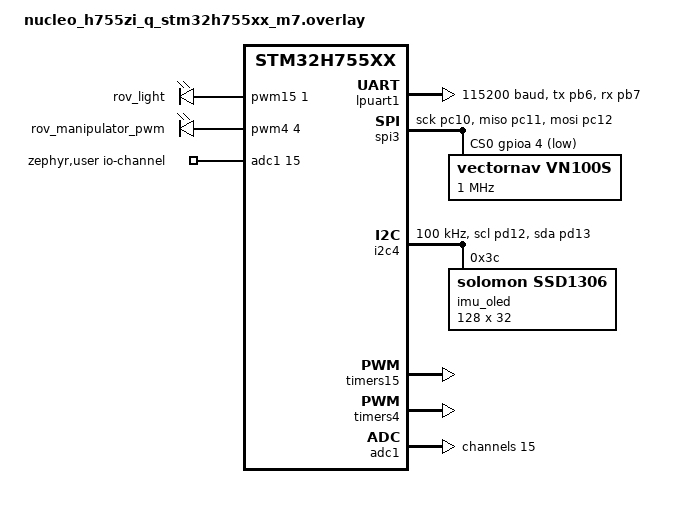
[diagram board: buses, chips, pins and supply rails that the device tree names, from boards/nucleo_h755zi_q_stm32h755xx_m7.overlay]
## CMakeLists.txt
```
# CMake build configuration for Zephyr RTOS application
# This file tells the build system how to compile our embedded application

# Require minimum CMake version for modern features
cmake_minimum_required(VERSION 3.20.0)

# Export compile_commands.json for IDE IntelliSense
set(CMAKE_EXPORT_COMPILE_COMMANDS ON)

# Make the local dts/ tree (bindings and overlays) visible to the DTS compiler.
list(APPEND DTS_ROOT ${CMAKE_CURRENT_SOURCE_DIR})

# Find and load the Zephyr RTOS build system
# ZEPHYR_BASE environment variable points to Zephyr installation
find_package(Zephyr REQUIRED HINTS $ENV{ZEPHYR_BASE})

# Define our project name (used in build outputs)
project(k2_zephyr_app)

# Use OpenOCD (from Zephyr SDK) as default flash/debug runner
set(BOARD_FLASH_RUNNER openocd)
set(BOARD_DEBUG_RUNNER openocd)

message(STATUS "K2 flashing: use Ethernet OTA helpers for normal updates; use west flash only for first-time USB provisioning or debug recovery.")

# Tell Zephyr to compile our main source file into the application
# 'app' is Zephyr's standard target name for the main application binary
target_sources(app PRIVATE src/main.c
                           src/control.c
                           src/net/net.c
                           src/net/resource_monitor.c
                           src/net/control_telemetry.c
                           src/net/log_backend_udp.c
                           src/net/setpoint_override.c
                           src/net/system_control.c
                           src/net/ota_confirm.c
                           src/imu/vn100s.c
                           src/imu/axis_config.c
                           src/vesc/vesc_protocol.c
                           src/vesc/vesc_uart_zephyr.c
                           src/vesc/thruster_mapping.c
                           src/pid/pid_config.c
                           src/pid/pid_controller.c
                           src/pinger/pinger_adc.c)

target_sources_ifdef(CONFIG_K2_OLED app PRIVATE src/display/oled.c)
```

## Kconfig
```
config K2_OLED
	bool "K2 OLED status display"
	default n
	select I2C
	select DISPLAY
	select SSD1306
	select CHARACTER_FRAMEBUFFER
	help
	  Enable the SSD1306 OLED status display, its display update thread,
	  and the user-button display mode selector.

source "Kconfig.zephyr"
```

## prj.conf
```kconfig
# Zephyr Project Configuration File
# This file enables/disables features and sets build-time options
# Each CONFIG_ line enables a specific feature or subsystem

# ==================== LOGGING & CONSOLE ====================
CONFIG_LOG=y
# Global default: WARNING only — modules override as needed
# log levels: 0=OFF, 1=ERROR, 2=WARN, 3=INFO, 4=DEBUG
CONFIG_LOG_DEFAULT_LEVEL=2
# Deferred mode: log messages are buffered and flushed by a
# background thread so UART writes never block control/network.
CONFIG_LOG_MODE_DEFERRED=y
CONFIG_LOG_BUFFER_SIZE=4096
CONFIG_LOG_PROCESS_THREAD_SLEEP_MS=100
# Allow runtime log-level changes via the shell (costs ~1 KB RAM)
CONFIG_LOG_RUNTIME_FILTERING=n
# Per-module compile-time levels are set in each source file via
# LOG_MODULE_REGISTER(name, LOG_LEVEL_xxx) — no Kconfig overrides needed.
CONFIG_UART_CONSOLE=y
CONFIG_REBOOT=y

# ==================== SOCKET LIMITS ====================
# 9 concurrent UDP sockets (command, telem, pid_config, axis_config,
# sp_override, system_control, resource_monitor, log_udp, ctrl_telem) + headroom
CONFIG_ZVFS_OPEN_MAX=16
CONFIG_NET_MAX_CONTEXTS=10

# ==================== NETWORKING STACK ====================
# Enable the core networking subsystem
CONFIG_NETWORKING=y
# Enable IPv4 protocol support
CONFIG_NET_IPV4=y
# Disable DHCP client - using static IP instead
CONFIG_NET_DHCPV4=n
# Enable static IP configuration
CONFIG_NET_CONFIG_SETTINGS=y
CONFIG_NET_CONFIG_MY_IPV4_ADDR="10.77.0.2"
CONFIG_NET_CONFIG_MY_IPV4_NETMASK="255.255.255.0"
CONFIG_NET_CONFIG_MY_IPV4_GW="0.0.0.0"
# Enable Ethernet as a Layer 2 protocol (this enables Ethernet support)
CONFIG_NET_L2_ETHERNET=y
# Enable UDP protocol support
CONFIG_NET_UDP=y
# Enable BSD socket API for easier network programming
CONFIG_NET_SOCKETS=y
# Disable POSIX socket names, we use zsock_* explicitly
# (No assignment here; symbol may not exist in this Zephyr version)
# Enable Ethernet driver for the STM32H755 Ethernet MAC
CONFIG_ETH_STM32_HAL=y
CONFIG_NET_L2_ETHERNET=y
# Enable network buffer management
CONFIG_NET_BUF=y
# Increase network buffer pools for better performance
CONFIG_NET_PKT_RX_COUNT=16
CONFIG_NET_PKT_TX_COUNT=24
# Enable network management for monitoring connection status
CONFIG_NET_MGMT=y
CONFIG_NET_MGMT_EVENT=y
# Increase network memory pools
CONFIG_NET_BUF_RX_COUNT=16
CONFIG_NET_BUF_TX_COUNT=24
CONFIG_NET_BUF_DATA_SIZE=128
# Enable network statistics for debugging
CONFIG_NET_STATISTICS=y

# ==================== GPIO & HARDWARE ====================
# Enable GPIO (General Purpose Input/Output) for LED control
CONFIG_GPIO=y
CONFIG_ADC=y
# Enable PWM for the dimmable light and manipulator outputs
CONFIG_PWM=y

# ==================== DEBUGGING & DIAGNOSTICS ====================
# Enable thread stack information for debugging
CONFIG_THREAD_STACK_INFO=y
# Initialize stack memory to help detect stack overflows
CONFIG_INIT_STACKS=y
# Enable thread runtime statistics for CPU usage monitoring
CONFIG_THREAD_RUNTIME_STATS=y
CONFIG_SCHED_THREAD_USAGE=y
# Enable thread monitor for k_thread_foreach
CONFIG_THREAD_MONITOR=y
# Enable thread names (needed for idle-thread CPU measurement)
CONFIG_THREAD_NAME=y
# Enable heap runtime statistics for memory monitoring
CONFIG_SYS_HEAP_RUNTIME_STATS=y
# Enable system heap (required for k_malloc and heap stats)
CONFIG_HEAP_MEM_POOL_SIZE=8192

# ==================== C LIBRARY ====================
# Use newlib C library instead of minimal libc
CONFIG_NEWLIB_LIBC=y
# Enable floating point support in printf/sprintf functions
CONFIG_NEWLIB_LIBC_FLOAT_PRINTF=y
# Enable floating point support in Zephyr's cbprintf (used by LOG_*)
CONFIG_CBPRINTF_FP_SUPPORT=y
# Enable POSIX API support
# (Do not force-disable here; omit this in prj.conf)
# Increase main thread stack size for networking
CONFIG_MAIN_STACK_SIZE=4096


# Console
CONFIG_SERIAL=y
CONFIG_CONSOLE=y

# UART for VESC communication
CONFIG_UART_INTERRUPT_DRIVEN=y

# SPI + GPIO
CONFIG_SPI=y

# SSD1306 OLED status display
CONFIG_K2_OLED=n

# MCUboot signing key for OTA-enabled sysbuilds
CONFIG_MCUBOOT_SIGNATURE_KEY_FILE="bootloader/mcuboot/root-rsa-2048.pem"
```

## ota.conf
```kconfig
# Ethernet OTA support over MCUmgr UDP/SMP
CONFIG_ZCBOR=y
CONFIG_CRC=y
CONFIG_FLASH=y
CONFIG_FLASH_MAP=y
CONFIG_STREAM_FLASH=y
CONFIG_IMG_MANAGER=y
CONFIG_MCUMGR=y
CONFIG_MCUMGR_GRP_IMG=y
CONFIG_MCUMGR_GRP_IMG_VERBOSE_ERR=y
CONFIG_MCUMGR_GRP_IMG_TOO_LARGE_SYSBUILD=y
CONFIG_MCUMGR_GRP_OS=y
CONFIG_MCUMGR_TRANSPORT_UDP=y
CONFIG_MCUMGR_TRANSPORT_UDP_IPV4=y
CONFIG_MCUMGR_TRANSPORT_UDP_IPV6=n
CONFIG_MCUMGR_TRANSPORT_UDP_PORT=1337

# Image upload and CBOR handling need more headroom than the base app uses
CONFIG_SYSTEM_WORKQUEUE_STACK_SIZE=3072
```

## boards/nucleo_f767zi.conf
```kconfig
CONFIG_SPI_BITBANG=y
```

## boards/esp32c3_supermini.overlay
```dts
#include <zephyr/dt-bindings/pinctrl/esp-pinctrl-common.h>
#include <zephyr/dt-bindings/pinctrl/esp32c3-pinctrl.h>
#include <zephyr/dt-bindings/pinctrl/esp32c3-gpio-sigmap.h>

&pinctrl {
	esc_uart1_default: esc_uart1_default {
		group1 {
			pinmux = <UART1_TX_GPIO21>;
			output-high;
		};

		group2 {
			pinmux = <UART1_RX_GPIO20>;
			bias-pull-up;
		};
	};
};

&uart1 {
	status = "okay";
	current-speed = <115200>;
	pinctrl-0 = <&esc_uart1_default>;
	pinctrl-names = "default";
};

/ {
	aliases {
		vesc-uart = &uart1;
	};
};
```

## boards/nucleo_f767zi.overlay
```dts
&mac {
	status = "okay";
	pinctrl-0 = <&eth_mdc_pc1 &eth_mdio_pa2 &eth_rxd0_pc4 &eth_rxd1_pc5
		     &eth_tx_en_pg11 &eth_txd0_pg13 &eth_txd1_pb13
		     &eth_rx_dv_pa7 &eth_ref_clk_pa1>;
	pinctrl-names = "default";
	phy-handle = <&phy0>;
};

&mdio {
	status = "okay";
	pinctrl-0 = <&eth_mdc_pc1 &eth_mdio_pa2>;
	pinctrl-names = "default";

	phy0: ethernet-phy@0 {
		compatible = "ethernet-phy";
		reg = <0>;
		status = "okay";
	};
};


/* Define PB5 as SPI1 MOSI to avoid conflict with Ethernet PA7 */
&pinctrl {
    /* Unused now, but kept for reference */
    spi1_mosi_pb5: spi1_mosi_pb5 {
        pinmux = <STM32_PINMUX('B', 5, AF5)>;
    };
};

/* Enable USART1 for VESC communication
 * TX = PB6
 * RX = PB7
 */
&usart1 {
    status = "okay";
    pinctrl-0 = <&usart1_tx_pb6 &usart1_rx_pb7>;
    pinctrl-names = "default";
    current-speed = <115200>;
};

/* Disable HW SPI1 */
&spi1 {
    status = "disabled";
};

/* Create Bit-Bang SPI Controller */
/ {
    aliases {
        vesc-uart = &usart1;
        vn100s = &vn100s;
    };

    spi_bb: spi-bitbang {
        compatible = "zephyr,spi-bitbang";
        status = "okay";
        #address-cells = <1>;
        #size-cells = <0>;
        
        /* D13 = PA5 */
        clk-gpios = <&gpioa 5 GPIO_ACTIVE_HIGH>;
        /* D4  = PF14 (actual D4 on Nucleo-144) */
        mosi-gpios = <&gpiof 14 GPIO_ACTIVE_HIGH>;
        /* D12 = PA6 */
        miso-gpios = <&gpioa 6 GPIO_ACTIVE_HIGH>;
        /* D10 = PD14 */
        cs-gpios = <&gpiod 14 GPIO_ACTIVE_LOW>;

        vn100s: vn100s@0 {
            compatible = "vectornav,vn100s";
            reg = <0>;
            status = "okay";
            spi-max-frequency = <1000000>;
            duplex = <0>;
            frame-format = <0>;
        };
    };
};
```

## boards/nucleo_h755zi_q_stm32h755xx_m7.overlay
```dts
#include "nucleo_h755zi_q_stm32h755xx_m7_partitions.overlay"
#include <zephyr/dt-bindings/pwm/pwm.h>
#include <zephyr/dt-bindings/adc/stm32_adc.h>

/* Enable LPUART1 for VESC communication
 * TX = PB6
 * RX = PB7
 */
&lpuart1 {
    status = "okay";
    pinctrl-0 = <&lpuart1_tx_pb6 &lpuart1_rx_pb7>;
    pinctrl-names = "default";
    current-speed = <115200>;
};

/ {
    chosen {
        zephyr,display = &imu_oled;
    };

    aliases {
        vesc-uart = &lpuart1;
        vn100s = &vn100s;
        imu-oled = &imu_oled;
    };
};

/* VN-100S IMU on the ST Zio/Morpho SPI3 pins.
 * SCK = PC10, MISO = PC11, MOSI = PC12, CS = PA4.
 */
&spi3 {
    status = "okay";
    pinctrl-0 = <&spi3_sck_pc10 &spi3_miso_pc11 &spi3_mosi_pc12>;
    pinctrl-names = "default";
    cs-gpios = <&gpioa 4 GPIO_ACTIVE_LOW>;
    #address-cells = <1>;
    #size-cells = <0>;

    vn100s: vn100s@0 {
        compatible = "vectornav,vn100s";
        reg = <0>;
        status = "okay";
        spi-max-frequency = <1000000>;
        duplex = <0>;
        frame-format = <0>;
    };
};

/* 0.91 inch SSD1306 OLED on I2C4.
 * SCL = PD12, SDA = PD13.
 */
&i2c4 {
    status = "okay";
    pinctrl-0 = <&i2c4_scl_pd12 &i2c4_sda_pd13>;
    pinctrl-names = "default";
    clock-frequency = <I2C_BITRATE_STANDARD>;

    imu_oled: ssd1306@3c {
        compatible = "solomon,ssd1306";
        reg = <0x3c>;
        width = <128>;
        height = <32>;
        segment-offset = <0>;
        page-offset = <0>;
        display-offset = <0>;
        multiplex-ratio = <31>;
        segment-remap;
        com-invdir;
        com-sequential;
        prechargep = <0x22>;
    };
};

/* Dimmable light output: TIM15_CH1 on PE5 drives the external LED driver.
 * TIM15 is kept separate from the board LED timer and other enabled hardware.
 */
&timers15 {
    st,prescaler = <128>;
    status = "okay";

    pwm15: pwm {
        status = "okay";
        pinctrl-0 = <&tim15_ch1_pe5>;
        pinctrl-names = "default";
    };
};

/* Manipulator PWM: TIM4_CH4 on PD15 (D9).
 * TIM4 is not used by the enabled UART, SPI, I2C, Ethernet, or light PWM.
 */
&timers4 {
    st,prescaler = <128>;
    status = "okay";

    pwm4: pwm {
        status = "okay";
        pinctrl-0 = <&tim4_ch4_pd15>;
        pinctrl-names = "default";
    };
};

/ {
    pwmleds {
        compatible = "pwm-leds";
        rov_light: rov_light {
            pwms = <&pwm15 1 PWM_MSEC(1) PWM_POLARITY_NORMAL>;
        };
        rov_manipulator_pwm: rov_manipulator_pwm {
            pwms = <&pwm4 4 PWM_HZ(200) PWM_POLARITY_NORMAL>;
        };
    };
};


/ {
    zephyr,user {
        io-channels = <&adc1 15>;
    };
};

&adc1 {
    status = "okay";
    #address-cells = <1>;
    #size-cells = <0>;

    st,adc-clock-source = "SYNC";
    st,adc-prescaler = <4>;

    channel@f {
        reg = <15>;
        zephyr,gain = "ADC_GAIN_1";
        zephyr,reference = "ADC_REF_INTERNAL";
        zephyr,acquisition-time = <ADC_ACQ_TIME_DEFAULT>;
        zephyr,resolution = <12>;
    };
};
```

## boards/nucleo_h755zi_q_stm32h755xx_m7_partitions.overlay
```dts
/ {
    chosen {
        zephyr,code-partition = &slot0_partition;
    };
};

&flash0 {
    reg = <0x08000000 DT_SIZE_K(2048)>;
    #address-cells = <1>;
    #size-cells = <1>;
    ranges = <0 0x08000000 DT_SIZE_K(2048)>;

    partitions {
        compatible = "fixed-partitions";
        #address-cells = <1>;
        #size-cells = <1>;

        boot_partition: partition@0 {
            label = "mcuboot";
            reg = <0x00000000 0x00020000>;
            read-only;
        };

        slot0_partition: partition@20000 {
            label = "image-0";
            reg = <0x00020000 0x00060000>;
        };

        slot1_partition: partition@100000 {
            label = "image-1";
            reg = <0x00100000 0x00080000>;
        };
    };
};
```

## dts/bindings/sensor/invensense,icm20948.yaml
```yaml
description: |
  Invensense ICM-20948 9-axis IMU attached to an SPI bus.

compatible: "invensense,icm20948"

include:
  - sensor-device.yaml
  - spi-device.yaml

properties:
  cs-gpios:
    type: phandle-array
    required: false
    description: GPIO specifier for the SPI chip-select line (optional if parent handles CS).

  int-gpios:
    type: phandle-array
    description: Optional interrupt pin. The signal is active high by default.

  reset-gpios:
    type: phandle-array
    description: Optional reset pin that can be driven low to reset the device.
```

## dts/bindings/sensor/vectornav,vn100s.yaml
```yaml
description: |
  VectorNav VN-100S AHRS/IMU attached to an SPI bus.

compatible: "vectornav,vn100s"

include:
  - sensor-device.yaml
  - spi-device.yaml

properties:
  cs-gpios:
    type: phandle-array
    required: false
    description: GPIO specifier for the SPI chip-select line (optional if parent handles CS).
```

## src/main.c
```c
/*
 * K2 Zephyr Application - LED Control
 * 
 * This application demonstrates basic embedded programming concepts:
 * 1. GPIO control (blinking LED)
 * 2. Real-time scheduling (periodic tasks)
 * 3. Logging system for debug output
 * 4. Networking (UDP server)
 * 
 * Target Hardware: ST NUCLEO-H755ZI-Q development board
 * - UART console for debug messages (115200 baud via ST-LINK USB)
 */

// Include Zephyr RTOS headers - these provide the APIs we need
#include <zephyr/kernel.h>
#include <zephyr/drivers/gpio.h>
#include <zephyr/logging/log.h>
#include <zephyr/net/socket.h> // added for zsock_close
#include <zephyr/drivers/uart.h>
#include <stdint.h>
#include "net/net.h"
#include "control.h"
#include "imu/vn100s.h"
#include "net/resource_monitor.h"
#include "vesc/vesc_protocol.h"
#include "vesc/vesc_uart_zephyr.h"
#include "pid/pid_config.h"
#include "imu/axis_config.h"
#include "net/control_telemetry.h"
#include "net/setpoint_override.h"
#include "net/system_control.h"
#include "net/ota_confirm.h"
#include "display/oled.h"
#include "pinger/pinger_adc.h"

/* Defined in net/log_backend_udp.c */
void log_backend_udp_topside_start(void);

// Register this source file as a log module named "k2_app" with INFO level
// This allows us to use LOG_INF(), LOG_ERR(), etc. in our code
LOG_MODULE_REGISTER(k2_app, LOG_LEVEL_INF);

/*
 * Main Application Entry Point
 * 
 * In embedded systems, main() typically:
 * 1. Initializes hardware and subsystems
 * 2. Sets up any required callbacks or interrupts  
 * 3. Enters an infinite loop to handle the main application logic
 * 
 * Unlike desktop programs that exit when done, embedded applications
 * run continuously until power is removed.
 */
int main(void)
{
    LOG_INF("=== K2 Zephyr Application Starting ===");
    LOG_INF("Board: %s", CONFIG_BOARD);
    
    /* 
     * INITIALIZATION PHASE
     * Set up all hardware and software components before main loop
     */
    
    // Initialize ROV control system
    rov_control_init();

    // Start pinger ADC test thread
    pinger_adc_start();

    // Initialize networking
    network_init();

    // Activate UDP log backend (must be after network_init)
    log_backend_udp_topside_start();

    // Start ROV control thread
    rov_control_start();

    // Start resource monitor thread
    resource_monitor_start();

    // Start OLED display updater
    display_start();

    // Start IMU sensor telemetry sender
    sensor_sender_start();

    // Start UDP server thread
    udp_server_start();

    // Start PID config listener
    pid_config_start();

    // Start axis config listener
    axis_config_start();

    // Start control telemetry sender
    control_telemetry_start();

    // Start setpoint override listener
    setpoint_override_start();

    // Start system control listener
    system_control_start();

    // Confirm a trial MCUboot image only after the app and network come up
    ota_confirm_init();

    /*
     * MAIN APPLICATION LOOP
     * 
     * Monitor network status and UDP server operation
     * No LED blinking - UDP server now processes structured packets silently
     */

    //uint32_t loop_count = 0; // Count main loop iterations
    
    LOG_INF("Starting main loop");
    LOG_DBG("UDP server will validate structured packets (sequence + payload + CRC32)");
    LOG_DBG("Payload will be forwarded to ROV control system");
    
    while (1) {  // Infinite loop - runs forever
        
        // Increment counter and log current state
        //loop_count++;
        
        if (network_ready) {
            LOG_DBG("Network ready, UDP server processing packets");
        } else {
            LOG_DBG("Network not ready, waiting...");
        }

        // Sleep for 10 seconds (longer interval for status updates)
        k_sleep(K_SECONDS(10));
    }
    
    // Cleanup (never reached in embedded systems)
    if (udp_sock >= 0) {
        zsock_close(udp_sock);
    }
    return 0;
}
```

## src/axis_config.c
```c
/*
 * Axis Config — UDP service for receiving IMU axis remapping and offset
 *
 * Listens on UDP port 5004 for configuration packets from topside.
 * Supports remapping of:
 *   - Yaw/Pitch/Roll axes (for angular PID)
 *   - Accelerometer X/Y/Z axes (for translational PID)
 *   - IMU offset from center of mass (for centripetal compensation)
 *
 * Packet layout (30 bytes):
 *   | type (1B)
 *   | yaw_src (1B) | yaw_sign (1B) | pitch_src (1B) | pitch_sign (1B)
 *   | roll_src (1B) | roll_sign (1B)
 *   | ax_src (1B) | ax_sign (1B) | ay_src (1B) | ay_sign (1B)
 *   | az_src (1B) | az_sign (1B)
 *   | pad (1B)
 *   | offset_x (4B float) | offset_y (4B float) | offset_z (4B float)
 *   | crc32 (4B)
 *
 * Type values:
 *   0x01 = SET    — update config, reply with active values
 *   0x02 = REQUEST — reply with current config
 *
 * src values (YPR): 0=yaw, 1=pitch, 2=roll
 * src values (accel): 0=x, 1=y, 2=z
 * sign values: 0=positive(+1), 1=negative(-1)
 * offset: millimeters from IMU to center of mass
 */

#include <zephyr/kernel.h>
#include <zephyr/logging/log.h>
#include <zephyr/net/socket.h>
#include <string.h>

#include "axis_config.h"
#include "net.h"

LOG_MODULE_REGISTER(axis_config, LOG_LEVEL_INF);

#define AXIS_PKT_SET     0x01
#define AXIS_PKT_REQUEST 0x02

static const char *ypr_names[] = {"yaw", "pitch", "roll"};
static const char *accel_names[] = {"x", "y", "z"};

typedef struct {
    uint8_t  type;
    /* YPR remap */
    uint8_t  yaw_src;
    uint8_t  yaw_sign;
    uint8_t  pitch_src;
    uint8_t  pitch_sign;
    uint8_t  roll_src;
    uint8_t  roll_sign;
    /* Accel remap */
    uint8_t  ax_src;
    uint8_t  ax_sign;
    uint8_t  ay_src;
    uint8_t  ay_sign;
    uint8_t  az_src;
    uint8_t  az_sign;
    uint8_t  _pad;
    /* IMU offset from center of mass (mm) */
    float    offset_x;
    float    offset_y;
    float    offset_z;
    /* Integrity */
    uint32_t crc32;
} __attribute__((packed)) axis_packet_t;

/* Default: identity mapping, no inversion */
static axis_map_t ypr_map[3] = {
    { .src = AXIS_SRC_YAW,   .sign = 1 },
    { .src = AXIS_SRC_PITCH, .sign = 1 },
    { .src = AXIS_SRC_ROLL,  .sign = 1 },
};

static axis_map_t accel_map[3] = {
    { .src = ACCEL_SRC_X, .sign = 1 },
    { .src = ACCEL_SRC_Y, .sign = 1 },
    { .src = ACCEL_SRC_Z, .sign = 1 },
};

static imu_offset_t current_offset = { .x = 0.0f, .y = 0.0f, .z = 0.0f };

K_MUTEX_DEFINE(axis_map_mutex);

K_THREAD_STACK_DEFINE(axis_config_stack, 2048);
static struct k_thread axis_config_thread_data;

void axis_config_remap_ypr(float raw_yaw, float raw_pitch, float raw_roll,
                           float *out_yaw, float *out_pitch, float *out_roll)
{
    float raw[3] = { raw_yaw, raw_pitch, raw_roll };

    k_mutex_lock(&axis_map_mutex, K_FOREVER);
    *out_yaw   = raw[ypr_map[0].src] * ypr_map[0].sign;
    *out_pitch = raw[ypr_map[1].src] * ypr_map[1].sign;
    *out_roll  = raw[ypr_map[2].src] * ypr_map[2].sign;
    k_mutex_unlock(&axis_map_mutex);
}

void axis_config_remap_accel(float raw_ax, float raw_ay, float raw_az,
                             float *out_ax, float *out_ay, float *out_az)
{
    float raw[3] = { raw_ax, raw_ay, raw_az };

    k_mutex_lock(&axis_map_mutex, K_FOREVER);
    *out_ax = raw[accel_map[0].src] * accel_map[0].sign;
    *out_ay = raw[accel_map[1].src] * accel_map[1].sign;
    *out_az = raw[accel_map[2].src] * accel_map[2].sign;
    k_mutex_unlock(&axis_map_mutex);
}

imu_offset_t axis_config_get_offset(void)
{
    imu_offset_t off;
    k_mutex_lock(&axis_map_mutex, K_FOREVER);
    off = current_offset;
    k_mutex_unlock(&axis_map_mutex);
    return off;
}

static bool valid_src(uint8_t s)
{
    return s <= 2;
}

static int8_t decode_sign(uint8_t s)
{
    return s ? -1 : 1;
}

static void apply_packet(const axis_packet_t *pkt)
{
    if (!valid_src(pkt->yaw_src) || !valid_src(pkt->pitch_src) ||
        !valid_src(pkt->roll_src) || !valid_src(pkt->ax_src) ||
        !valid_src(pkt->ay_src) || !valid_src(pkt->az_src)) {
        LOG_WRN("Axis config: invalid source index, dropping");
        return;
    }

    k_mutex_lock(&axis_map_mutex, K_FOREVER);

    ypr_map[0].src  = pkt->yaw_src;
    ypr_map[0].sign = decode_sign(pkt->yaw_sign);
    ypr_map[1].src  = pkt->pitch_src;
    ypr_map[1].sign = decode_sign(pkt->pitch_sign);
    ypr_map[2].src  = pkt->roll_src;
    ypr_map[2].sign = decode_sign(pkt->roll_sign);

    accel_map[0].src  = pkt->ax_src;
    accel_map[0].sign = decode_sign(pkt->ax_sign);
    accel_map[1].src  = pkt->ay_src;
    accel_map[1].sign = decode_sign(pkt->ay_sign);
    accel_map[2].src  = pkt->az_src;
    accel_map[2].sign = decode_sign(pkt->az_sign);

    current_offset.x = pkt->offset_x;
    current_offset.y = pkt->offset_y;
    current_offset.z = pkt->offset_z;

    k_mutex_unlock(&axis_map_mutex);

    LOG_INF("Axis YPR: yaw=%s%s pitch=%s%s roll=%s%s",
            pkt->yaw_sign ? "-" : "+", ypr_names[pkt->yaw_src],
            pkt->pitch_sign ? "-" : "+", ypr_names[pkt->pitch_src],
            pkt->roll_sign ? "-" : "+", ypr_names[pkt->roll_src]);
    LOG_INF("Axis Accel: x=%s%s y=%s%s z=%s%s",
            pkt->ax_sign ? "-" : "+", accel_names[pkt->ax_src],
            pkt->ay_sign ? "-" : "+", accel_names[pkt->ay_src],
            pkt->az_sign ? "-" : "+", accel_names[pkt->az_src]);
    LOG_INF("IMU offset: x=%d y=%d z=%d mm",
            (int)pkt->offset_x, (int)pkt->offset_y, (int)pkt->offset_z);
}

static void send_config_reply(int sock, struct sockaddr_in *dest)
{
    axis_packet_t reply;
    memset(&reply, 0, sizeof(reply));
    reply.type = AXIS_PKT_SET;

    k_mutex_lock(&axis_map_mutex, K_FOREVER);

    reply.yaw_src    = ypr_map[0].src;
    reply.yaw_sign   = (ypr_map[0].sign < 0) ? 1 : 0;
    reply.pitch_src  = ypr_map[1].src;
    reply.pitch_sign = (ypr_map[1].sign < 0) ? 1 : 0;
    reply.roll_src   = ypr_map[2].src;
    reply.roll_sign  = (ypr_map[2].sign < 0) ? 1 : 0;

    reply.ax_src  = accel_map[0].src;
    reply.ax_sign = (accel_map[0].sign < 0) ? 1 : 0;
    reply.ay_src  = accel_map[1].src;
    reply.ay_sign = (accel_map[1].sign < 0) ? 1 : 0;
    reply.az_src  = accel_map[2].src;
    reply.az_sign = (accel_map[2].sign < 0) ? 1 : 0;

    reply.offset_x = current_offset.x;
    reply.offset_y = current_offset.y;
    reply.offset_z = current_offset.z;

    k_mutex_unlock(&axis_map_mutex);

    reply.crc32 = crc32_calc(&reply, sizeof(reply) - sizeof(reply.crc32));

    zsock_sendto(sock, &reply, sizeof(reply), 0,
                 (struct sockaddr *)dest, sizeof(*dest));
}

static void axis_config_thread(void *arg1, void *arg2, void *arg3)
{
    ARG_UNUSED(arg1); ARG_UNUSED(arg2); ARG_UNUSED(arg3);

    int sock;
    struct sockaddr_in bind_addr, client_addr;
    socklen_t client_addr_len;
    axis_packet_t packet;
    int ret;

    while (!network_ready) {
        k_sleep(K_MSEC(100));
    }

    sock = zsock_socket(AF_INET, SOCK_DGRAM, IPPROTO_UDP);
    if (sock < 0) {
        LOG_ERR("Failed to create axis config socket: %d", sock);
        return;
    }

    memset(&bind_addr, 0, sizeof(bind_addr));
    bind_addr.sin_family      = AF_INET;
    bind_addr.sin_addr.s_addr = INADDR_ANY;
    bind_addr.sin_port        = htons(AXIS_CONFIG_PORT);

    ret = zsock_bind(sock, (struct sockaddr *)&bind_addr, sizeof(bind_addr));
    if (ret < 0) {
        LOG_ERR("Failed to bind axis config socket: %d", ret);
        zsock_close(sock);
        return;
    }

    LOG_INF("Axis config listener ready on port %d", AXIS_CONFIG_PORT);

    while (1) {
        client_addr_len = sizeof(client_addr);
        ret = zsock_recvfrom(sock, &packet, sizeof(packet), 0,
                             (struct sockaddr *)&client_addr, &client_addr_len);

        if (ret != sizeof(axis_packet_t)) {
            if (ret < 0) {
                LOG_ERR("Axis config recv error: %d", ret);
                k_sleep(K_MSEC(100));
            } else {
                LOG_WRN("Axis config: wrong packet size %d (expected %d)",
                        ret, sizeof(axis_packet_t));
            }
            continue;
        }

        uint32_t calc_crc = crc32_calc(&packet,
                                       sizeof(packet) - sizeof(packet.crc32));
        if (calc_crc != packet.crc32) {
            LOG_ERR("Axis config CRC mismatch (calc 0x%08X, recv 0x%08X)",
                    calc_crc, packet.crc32);
            continue;
        }

        switch (packet.type) {
        case AXIS_PKT_SET:
            apply_packet(&packet);
            send_config_reply(sock, &client_addr);
            break;

        case AXIS_PKT_REQUEST:
            LOG_INF("Axis config requested");
            send_config_reply(sock, &client_addr);
            break;

        default:
            LOG_WRN("Axis config: unknown packet type 0x%02X", packet.type);
            break;
        }
    }
}

void axis_config_start(void)
{
    k_tid_t tid = k_thread_create(&axis_config_thread_data,
                                  axis_config_stack,
                                  K_THREAD_STACK_SIZEOF(axis_config_stack),
                                  axis_config_thread,
                                  NULL, NULL, NULL,
                                  K_PRIO_COOP(7), 0, K_NO_WAIT);
    if (tid) {
        LOG_INF("Axis config thread started");
    } else {
        LOG_ERR("Failed to start axis config thread");
    }
}
```

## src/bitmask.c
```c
#include "bitmask.h"

static volatile uint64_t g_current_bm = 0;

uint64_t bm_set_field(uint64_t bm, bm_field_t off, uint8_t v) {
    const uint64_t mask = (uint64_t)0xFF << off;
    bm = (bm & ~mask) | ((uint64_t)v << off);
    return bm;
}

uint8_t bm_get_field(uint64_t bm, bm_field_t off) {
    return (uint8_t)((bm >> off) & 0xFF);
}

void bm_to_bytes_le(uint64_t bm, uint8_t out[8]) {
    for (int i = 0; i < 8; ++i) out[i] = (uint8_t)((bm >> (8 * i)) & 0xFF);
}

uint64_t bm_from_bytes_le(const uint8_t in[8]) {
    uint64_t v = 0;
    for (int i = 0; i < 8; ++i) v |= ((uint64_t)in[i]) << (8 * i);
    return v;
}

/* global holder */
void bm_set_current(uint64_t v) { g_current_bm = v; }
uint64_t bm_get_current(void)   { return g_current_bm; }
```

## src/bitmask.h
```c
#pragma once
#include <stdint.h>

typedef enum {
    BM_FREMBAK   = 0,   
    BM_OPPNED    = 8,   
    BM_SIDESIDE  = 16, 
    BM_PITCH     = 24,  
    BM_YAW       = 32,  
    BM_ROLL      = 40,  
    BM_LYS       = 48, 
    BM_MANIP     = 56  
} bm_field_t;

/* pack/unpack single fields */
uint64_t bm_set_field(uint64_t bm, bm_field_t off, uint8_t v);
uint8_t  bm_get_field(uint64_t bm, bm_field_t off);

/* little-endian byte view helpers (for e.g. UART, not used by UDP) */
void     bm_to_bytes_le(uint64_t bm, uint8_t out[8]);
uint64_t bm_from_bytes_le(const uint8_t in[8]);

/* app-global “current” bitmask (simple holder for producer/consumer) */
void     bm_set_current(uint64_t v);
uint64_t bm_get_current(void);
```

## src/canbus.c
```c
#include <zephyr/kernel.h>
#include <zephyr/drivers/can.h>
#include <zephyr/logging/log.h>
#include <string.h>
#include <stdint.h>
#include "canbus.h"

LOG_MODULE_REGISTER(canbus, LOG_LEVEL_INF);

// Local CAN device handle
static const struct device *can_dev = NULL;

/**
 * @brief CAN transmit callback
 */
static void tx_callback(const struct device *dev, int error, void *user_data)
{
    const char *sender = user_data;
    if (error) {
        LOG_ERR("CAN send failed [%d] from %s", error, sender);
    } else {
        LOG_INF("CAN frame sent OK from %s", sender);
    }
}

/**
 * @brief Initialize CAN bus at 500 kbps
 */
int canbus_init(void)
{
    LOG_INF("Initializing CAN...");

    can_dev = DEVICE_DT_GET(DT_NODELABEL(can1));
    if (!device_is_ready(can_dev)) {
        LOG_ERR("CAN device not ready");
        return -1;
    }

    // Example timing for 500 kbps on 48MHz clock (adjust if needed)
    struct can_timing timing = {
        .sjw = 1,
        .prop_seg = 1,
        .phase_seg1 = 13,
        .phase_seg2 = 2,
        .prescaler = 6
    };

    int ret = can_set_timing(can_dev, &timing);
    if (ret) {
        LOG_ERR("Failed to set CAN timing: %d", ret);
        return ret;
    }

    ret = can_start(can_dev);
    if (ret) {
        LOG_ERR("Failed to start CAN controller: %d", ret);
        return ret;
    }

    LOG_INF("CAN initialized successfully at 500kbps");
    return 0;
}

/**
 * @brief Simple test frame (legacy)
 */
int send_test_frame(void)
{
    if (!can_dev) {
        LOG_ERR("CAN not initialized");
        return -ENODEV;
    }

    struct can_frame frame = {
        .id = 0x223,  // Example: VESC ID 68 + CMD=3 (set RPM)
        .dlc = 8,
        .flags = 0
    };

    int32_t rpm = 2000;
    frame.data[0] = (rpm >> 24) & 0xFF;
    frame.data[1] = (rpm >> 16) & 0xFF;
    frame.data[2] = (rpm >> 8) & 0xFF;
    frame.data[3] = rpm & 0xFF;
    memset(&frame.data[4], 0, 4);

    LOG_INF("Sending test frame to VESC (RPM=%d)", rpm);
    return can_send(can_dev, &frame, K_FOREVER, tx_callback, "test");
}

/**
 * @brief Helper: encode 32-bit big-endian integer
 */
static inline void put_i32_be(uint8_t *dst, int32_t v)
{
    dst[0] = (uint8_t)((v >> 24) & 0xFF);
    dst[1] = (uint8_t)((v >> 16) & 0xFF);
    dst[2] = (uint8_t)((v >> 8) & 0xFF);
    dst[3] = (uint8_t)((v >> 0) & 0xFF);
}

/**
 * @brief Helper: build extended CAN ID for VESC commands
 */
static inline uint32_t vesc_eid(uint8_t cmd, uint8_t vesc_id)
{
    return ((uint32_t)cmd << 8) | vesc_id;
}

/**
 * @brief Send a current command (drive current)
 */
int send_set_current(uint8_t vesc_id, float amps)
{
    if (!can_dev) {
        LOG_ERR("CAN not initialized");
        return -ENODEV;
    }

    const uint8_t CMD_SET_CURRENT = 1;
    int32_t scaled = (int32_t)(amps * 1000.0f);

    struct can_frame fr = {
        .id = vesc_eid(CMD_SET_CURRENT, vesc_id),
        .dlc = 4,
        .flags = CAN_FRAME_IDE // use 29-bit extended ID
    };

    put_i32_be(fr.data, scaled);

    LOG_INF("Sending SET_CURRENT %.2fA to VESC ID=%d", amps, vesc_id);
    return can_send(can_dev, &fr, K_NO_WAIT, tx_callback, "set_current");
}

/**
 * @brief Send a braking current command
 */
int send_set_current_brake(uint8_t vesc_id, float brake_amps)
{
    if (!can_dev) {
        LOG_ERR("CAN not initialized");
        return -ENODEV;
    }

    const uint8_t CMD_SET_CURRENT_BRAKE = 2;
    int32_t scaled = (int32_t)(brake_amps * 1000.0f);

    struct can_frame fr = {
        .id = vesc_eid(CMD_SET_CURRENT_BRAKE, vesc_id),
        .dlc = 4,
        .flags = CAN_FRAME_IDE
    };

    put_i32_be(fr.data, scaled);

    LOG_INF("Sending BRAKE_CURRENT %.2fA to VESC ID=%d", brake_amps, vesc_id);
    return can_send(can_dev, &fr, K_NO_WAIT, tx_callback, "set_brake");
}
```

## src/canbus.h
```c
#ifndef CANBUS_H
#define CANBUS_H

#include <zephyr/kernel.h>
#include <zephyr/drivers/can.h>
#include <stdint.h>

/**
 * @brief Initialize the CAN bus at 500 kbps
 *
 * Sets CAN timing and starts the controller.
 * Must be called before any send_* functions.
 *
 * @return 0 on success, negative error code on failure
 */
int canbus_init(void);

/**
 * @brief Send a test CAN frame (legacy function)
 *
 * For initial verification of CAN wiring.
 *
 * @return 0 on success, negative error code on failure
 */
int send_test_frame(void);

/**
 * @brief Send an "alive" heartbeat to the VESC
 *
 * Should be sent every ~100 ms to prevent timeout.
 *
 * @param controller_id VESC CAN ID (1–255)
 * @return 0 on success, negative error code on failure
 */
int send_alive(int controller_id);

/**
 * @brief Send an RPM command over CAN
 *
 * @param controller_id VESC CAN ID (1–255)
 * @param rpm Target motor RPM
 * @return 0 on success, negative error code on failure
 */
int send_set_rpm(int controller_id, int32_t rpm);

/**
 * @brief Send a current command (torque control)
 *
 * Sends a float current (amps) to the VESC using the
 * COMM_SET_CURRENT (command 1) CAN frame.
 *
 * @param vesc_id VESC CAN ID (1–255)
 * @param amps Desired motor current (A)
 * @return 0 on success, negative error code on failure
 */
int send_set_current(uint8_t vesc_id, float amps);

/**
 * @brief Send a braking current command
 *
 * Sends a float current (amps) to brake the motor using
 * COMM_SET_CURRENT_BRAKE (command 2) CAN frame.
 *
 * @param vesc_id VESC CAN ID (1–255)
 * @param brake_amps Desired braking current (A)
 * @return 0 on success, negative error code on failure
 */
int send_set_current_brake(uint8_t vesc_id, float brake_amps);

#endif // CANBUS_H
```

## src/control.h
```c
#pragma once

#include <zephyr/kernel.h>
#include <stdint.h>
#include <stdbool.h>

/* Message structure for communication between threads */
typedef struct {
    uint32_t sequence;
    int8_t surge;        /* Forward/backward (-128 to +127) */
    int8_t sway;         /* Left/right (-128 to +127) */
    int8_t heave;        /* Up/down (-128 to +127) */
    int8_t roll;         /* Roll rotation (-128 to +127) */
    int8_t pitch;        /* Pitch rotation (-128 to +127) */
    int8_t yaw;          /* Yaw rotation (-128 to +127) */
    uint8_t light;       /* Light brightness (0-255) */
    uint8_t manipulator; /* Manipulator position (0-255) */
} rov_command_t;

/* Snapshot of control loop state for topside telemetry.
 * Axis order: [surge, sway, heave, roll, pitch, yaw] */
typedef struct {
    float setpoint[6];  /* Target value per axis */
    float output[6];    /* PID output [-1,+1] or passthrough */
    float error[6];     /* setpoint - measurement (0 when passthrough) */
} control_telemetry_t;

typedef struct {
    bool active;
    float reference_yaw;
    float reference_pitch;
    float reference_roll;
} frame_lock_state_t;

/* Public functions */
void rov_control_init(void);
void rov_control_start(void);
void rov_send_command(uint32_t sequence, uint64_t payload);

/* Copy the latest control telemetry snapshot (thread-safe) */
void control_get_telemetry(control_telemetry_t *out);

/* Manual setpoint override from topside (for testing/debugging).
 * axis_mask: bitmask of axes to override (bit 0=surge … bit 5=yaw).
 * setpoints: target value per axis (only bits set in mask are used).
 * Units: surge/sway m/s, heave positive-down depth m, roll/pitch/yaw degrees. */
void control_set_override(uint8_t axis_mask, const float setpoints[6]);

/* Clear all overrides — return to normal stick control */
void control_clear_override(void);

/* Capture the current attitude as the reference frame for world-up heave. */
void control_frame_lock_enable(void);

/* Disable reference-frame compensation. */
void control_frame_lock_disable(void);

/* Copy the latest frame-lock state. */
void control_get_frame_lock(frame_lock_state_t *out);
```

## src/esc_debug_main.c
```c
#include <errno.h>
#include <stddef.h>
#include <stdint.h>

#include <zephyr/device.h>
#include <zephyr/drivers/uart.h>
#include <zephyr/kernel.h>
#include <zephyr/logging/log.h>

LOG_MODULE_REGISTER(esc_debug, LOG_LEVEL_DBG);

#define VESC_UART_NODE DT_ALIAS(vesc_uart)

BUILD_ASSERT(DT_NODE_HAS_STATUS_OKAY(VESC_UART_NODE),
	     "vesc_uart alias must point to an enabled UART in the board overlay");

#define ESC_BAUDRATE 115200
#define QUERY_INTERVAL_MS 1000
#define RX_IDLE_FLUSH_MS 50
#define RX_BUF_SIZE 256

#define VESC_START_BYTE 0x02
#define VESC_STOP_BYTE 0x03
#define COMM_GET_VALUES 4
#define COMM_SET_DUTY 5

static const struct device *const esc_uart = DEVICE_DT_GET(VESC_UART_NODE);

static uint16_t crc16_ccitt(const uint8_t *data, size_t len)
{
	uint16_t crc = 0;

	for (size_t i = 0; i < len; i++) {
		crc ^= (uint16_t)data[i] << 8;
		for (int bit = 0; bit < 8; bit++) {
			if ((crc & 0x8000) != 0U) {
				crc = (crc << 1) ^ 0x1021;
			} else {
				crc <<= 1;
			}
		}
	}

	return crc;
}

static void append_i32(uint8_t *buf, int32_t value, size_t *idx)
{
	buf[(*idx)++] = (uint8_t)((value >> 24) & 0xff);
	buf[(*idx)++] = (uint8_t)((value >> 16) & 0xff);
	buf[(*idx)++] = (uint8_t)((value >> 8) & 0xff);
	buf[(*idx)++] = (uint8_t)(value & 0xff);
}

static size_t wrap_packet(uint8_t *packet, const uint8_t *payload, size_t payload_len)
{
	size_t idx = 0;
	uint16_t crc = crc16_ccitt(payload, payload_len);

	packet[idx++] = VESC_START_BYTE;
	packet[idx++] = (uint8_t)payload_len;
	for (size_t i = 0; i < payload_len; i++) {
		packet[idx++] = payload[i];
	}
	packet[idx++] = (uint8_t)(crc >> 8);
	packet[idx++] = (uint8_t)crc;
	packet[idx++] = VESC_STOP_BYTE;

	return idx;
}

static size_t build_get_values(uint8_t *packet)
{
	const uint8_t payload[] = { COMM_GET_VALUES };

	return wrap_packet(packet, payload, sizeof(payload));
}

static size_t build_zero_duty(uint8_t *packet)
{
	uint8_t payload[5];
	size_t idx = 0;

	payload[idx++] = COMM_SET_DUTY;
	append_i32(payload, 0, &idx);

	return wrap_packet(packet, payload, idx);
}

static int configure_esc_uart(void)
{
	if (!device_is_ready(esc_uart)) {
		LOG_ERR("ESC UART device is not ready");
		return -ENODEV;
	}

	const struct uart_config cfg = {
		.baudrate = ESC_BAUDRATE,
		.parity = UART_CFG_PARITY_NONE,
		.stop_bits = UART_CFG_STOP_BITS_1,
		.data_bits = UART_CFG_DATA_BITS_8,
		.flow_ctrl = UART_CFG_FLOW_CTRL_NONE,
	};
	int ret = uart_configure(esc_uart, &cfg);

	if (ret < 0) {
		LOG_ERR("Failed to configure ESC UART %s at %d baud: %d",
			esc_uart->name, ESC_BAUDRATE, ret);
		return ret;
	}

	LOG_INF("ESC UART ready: %s, %d 8N1", esc_uart->name, ESC_BAUDRATE);
	return 0;
}

static void send_packet(const char *label, const uint8_t *packet, size_t len)
{
	LOG_INF("TX %s (%u bytes)", label, (unsigned int)len);
	LOG_HEXDUMP_INF(packet, len, "tx");

	for (size_t i = 0; i < len; i++) {
		uart_poll_out(esc_uart, packet[i]);
	}
}

static void poll_rx(uint8_t *rx, size_t *rx_len, int64_t *last_rx_ms)
{
	uint8_t byte;

	while (uart_poll_in(esc_uart, &byte) == 0) {
		if (*rx_len >= RX_BUF_SIZE) {
			LOG_WRN("RX buffer full; flushing partial frame");
			LOG_HEXDUMP_INF(rx, *rx_len, "rx");
			*rx_len = 0;
		}

		rx[(*rx_len)++] = byte;
		*last_rx_ms = k_uptime_get();
	}

	if (*rx_len > 0 && (k_uptime_get() - *last_rx_ms) >= RX_IDLE_FLUSH_MS) {
		LOG_INF("RX idle flush (%u bytes)", (unsigned int)*rx_len);
		LOG_HEXDUMP_INF(rx, *rx_len, "rx");
		*rx_len = 0;
	}
}

int main(void)
{
	uint8_t packet[16];
	uint8_t rx[RX_BUF_SIZE];
	size_t rx_len = 0;
	int64_t last_rx_ms = 0;
	int64_t next_query_ms;
	uint32_t query_count = 0;

	LOG_INF("minimal ESC UART debug starting on %s", CONFIG_BOARD);

	if (configure_esc_uart() < 0) {
		return 0;
	}

	next_query_ms = k_uptime_get();

	while (true) {
		int64_t now = k_uptime_get();

		poll_rx(rx, &rx_len, &last_rx_ms);

		if (now >= next_query_ms) {
			size_t len = build_get_values(packet);

			send_packet("COMM_GET_VALUES", packet, len);
			query_count++;

			if ((query_count % 5U) == 0U) {
				len = build_zero_duty(packet);
				send_packet("COMM_SET_DUTY zero", packet, len);
			}

			next_query_ms = now + QUERY_INTERVAL_MS;
		}

		k_sleep(K_MSEC(10));
	}
}
```

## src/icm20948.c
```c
#include <zephyr/kernel.h>
#include <zephyr/device.h>
#include <zephyr/devicetree.h>
#include <zephyr/drivers/spi.h>
#include <zephyr/logging/log.h>

#include "icm20948.h"

LOG_MODULE_REGISTER(icm20948, LOG_LEVEL_INF);

#define ICM_NODE DT_NODELABEL(icm20948)

BUILD_ASSERT(DT_NODE_HAS_STATUS(ICM_NODE, okay),
             "ICM20948 node not okay in DT");

static const struct spi_dt_spec icm = SPI_DT_SPEC_GET(
    ICM_NODE,
    SPI_OP_MODE_MASTER | SPI_WORD_SET(8) | SPI_TRANSFER_MSB,
    0
);

static int icm_write_reg(uint8_t reg, uint8_t val)
{
    uint8_t tx[2] = { (uint8_t)(reg & 0x7F), val };

    struct spi_buf buf = {
        .buf = tx,
        .len = sizeof(tx),
    };
    struct spi_buf_set tx_set = {
        .buffers = &buf,
        .count = 1,
    };

    return spi_write_dt(&icm, &tx_set);
}

static int icm_read_reg(uint8_t reg, uint8_t *val)
{
    uint8_t tx[2] = {
        (uint8_t)(reg | 0x80),
        0xFF,
    };
    uint8_t rx[2] = {0};

    struct spi_buf txb = {
        .buf = tx,
        .len = sizeof(tx),   // 2 bytes
    };
    struct spi_buf rxb = {
        .buf = rx,
        .len = sizeof(rx),   // 2 bytes
    };

    struct spi_buf_set tx_set = {
        .buffers = &txb,
        .count   = 1,
    };
    struct spi_buf_set rx_set = {
        .buffers = &rxb,
        .count   = 1,
    };

    int err = spi_transceive_dt(&icm, &tx_set, &rx_set);
    if (err) {
        return err;
    }

    *val = rx[1];
    return 0;
}


static int icm_read_burst(uint8_t reg, uint8_t *data, size_t len)
{
    /* We need 1 byte for the address + len data bytes */
    uint8_t tx_buf[1 + 12];   /* 12 is enough for your 6 accel + 6 gyro bytes */
    uint8_t rx_buf[1 + 12];

    if (len > 12) {
        return -EINVAL;
    }

    tx_buf[0] = (uint8_t)(reg | 0x80);  /* bit7=1 for read, start address */
    for (size_t i = 1; i < 1 + len; i++) {
        tx_buf[i] = 0xFF;              /* dummy bytes to clock out data */
    }

    struct spi_buf txb = {
        .buf = tx_buf,
        .len = 1 + len,
    };
    struct spi_buf rxb = {
        .buf = rx_buf,
        .len = 1 + len,
    };

    struct spi_buf_set tx_set = {
        .buffers = &txb,
        .count   = 1,
    };
    struct spi_buf_set rx_set = {
        .buffers = &rxb,
        .count   = 1,
    };

    int err = spi_transceive_dt(&icm, &tx_set, &rx_set);
    if (err) {
        return err;
    }

    /* Skip the first dummy byte, copy only the data bytes */
    memcpy(data, &rx_buf[1], len);
    return 0;
}


/* Public API */

int icm20948_init(struct icm20948_data *dev)
{
    int err;
    uint8_t who = 0;

    if (!device_is_ready(icm.bus)) {
        LOG_ERR("SPI bus not ready");
        return -ENODEV;
    }

    if (dev) {
        dev->spi = &icm;
    }

    LOG_DBG("Checking WHO_AM_I...");
    /* WHO_AM_I check */
    err = icm_read_reg(0x00, &who);
    if (err) {
        LOG_ERR("WHO_AM_I read err %d", err);
        return err;
    }

    LOG_DBG("WHO_AM_I = 0x%02X (expect 0xEA)", who);
    if (who != 0xEA) {
        LOG_WRN("Unexpected WHO_AM_I 0x%02X. Attempting reset anyway...", who);
    }

    /* --- Reset and wake (bank 0) --- */
    LOG_DBG("Resetting ICM20948...");
    err = icm_write_reg(0x06, 0x41);   /* PWR_MGMT_1: reset + CLKSEL=1 */
    if (err) {
        LOG_ERR("PWR_MGMT_1 reset err %d", err);
        return err;
    }
    k_msleep(100);

    err = icm_write_reg(0x06, 0x01);   /* PWR_MGMT_1: clk auto, not sleep */
    if (err) {
        LOG_ERR("PWR_MGMT_1 wake err %d", err);
        return err;
    }

    err = icm_write_reg(0x07, 0x00);   /* PWR_MGMT_2: all accel+gyro on */
    if (err) {
        LOG_ERR("PWR_MGMT_2 write err %d", err);
        return err;
    }

    /* Disable I2C, force SPI mode (USER_CTRL, bank 0, 0x03, bit4=I2C_IF_DIS) */
    err = icm_write_reg(0x03, 0x10);
    if (err) {
        LOG_ERR("USER_CTRL write err %d", err);
        return err;
    }

    /* Optional: configure accel/gyro full-scale in bank 2 (matches common examples)  */
    err = icm_write_reg(0x7F, 0x20);   /* REG_BANK_SEL: bank 2 */
    if (err) return err;

    err = icm_write_reg(0x14, 0x01);   /* ACCEL_CONFIG: +/-2 g */
    if (err) return err;

    err = icm_write_reg(0x15, 0x00);   /* ACCEL_CONFIG_2: no self-test */
    if (err) return err;

    err = icm_write_reg(0x01, 0x01);   /* GYRO_CONFIG: +/-250 dps */
    if (err) return err;

    err = icm_write_reg(0x02, 0x00);   /* GYRO_CONFIG_2: no self-test */
    if (err) return err;

    /* Back to bank 0 for WHO_AM_I and data */
    err = icm_write_reg(0x7F, 0x00);   /* REG_BANK_SEL: bank 0 */
    if (err) return err;

    k_msleep(200);

    return 0;
}

int icm20948_read_raw(struct icm20948_data *dev,
                      int16_t *ax, int16_t *ay, int16_t *az,
                      int16_t *gx, int16_t *gy, int16_t *gz)
{
    ARG_UNUSED(dev); /* we use static icm spec */

    uint8_t raw[12];
    int err = icm_read_burst(0x2D, raw, sizeof(raw)); /* accel+gyro start */
    if (err) {
        return err;
    }

    *ax = (int16_t)((raw[0] << 8) | raw[1]);
    *ay = (int16_t)((raw[2] << 8) | raw[3]);
    *az = (int16_t)((raw[4] << 8) | raw[5]);
    *gx = (int16_t)((raw[6] << 8) | raw[7]);
    *gy = (int16_t)((raw[8] << 8) | raw[9]);
    *gz = (int16_t)((raw[10] << 8) | raw[11]);

    return 0;
}

static int16_t last_ax, last_ay, last_az;
static int16_t last_gx, last_gy, last_gz;

void icm20948_get_latest(int16_t *accel, int16_t *gyro)
{
    accel[0] = last_ax;
    accel[1] = last_ay;
    accel[2] = last_az;
    gyro[0]  = last_gx;
    gyro[1]  = last_gy;
    gyro[2]  = last_gz;
}

/* Thread entry: print to serial forever */

void icm20948_task(void *p1, void *p2, void *p3)
{
    ARG_UNUSED(p1);
    ARG_UNUSED(p2);
    ARG_UNUSED(p3);

    LOG_DBG("ICM20948 thread starting");

    struct icm20948_data dev;
    int err = icm20948_init(&dev);
    if (err) {
        LOG_ERR("ICM20948 init failed: %d", err);
        return;
    }

    while (1) {
        int16_t ax, ay, az, gx, gy, gz;
        err = icm20948_read_raw(&dev, &ax, &ay, &az, &gx, &gy, &gz);
        if (!err) {
            /* Store for external access */
            last_ax = ax; last_ay = ay; last_az = az;
            last_gx = gx; last_gy = gy; last_gz = gz;
        } else {
            LOG_ERR("ICM read err %d", err);
        }
        k_msleep(200);
    }
}

/* Define and start the IMU thread automatically at boot */

K_THREAD_DEFINE(imu_tid, 2048, icm20948_task, NULL, NULL, NULL, 5, 0, 0);
```

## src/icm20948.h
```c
#ifndef ICM20948_H
#define ICM20948_H

#include <stdint.h>
#include <zephyr/kernel.h>
#include <zephyr/drivers/spi.h>

struct icm20948_data {
    const struct spi_dt_spec *spi;
};

int icm20948_init(struct icm20948_data *dev);
int icm20948_read_raw(struct icm20948_data *dev,
                      int16_t *ax, int16_t *ay, int16_t *az,
                      int16_t *gx, int16_t *gy, int16_t *gz);

void icm20948_get_latest(int16_t *accel, int16_t *gyro);

/* Thread entry for the IMU task */
void icm20948_task(void *p1, void *p2, void *p3);

#endif /* ICM20948_H */
```

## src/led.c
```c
#include <zephyr/drivers/gpio.h>
#include <zephyr/logging/log.h>

LOG_MODULE_REGISTER(k2_led, LOG_LEVEL_INF);

const struct gpio_dt_spec led = GPIO_DT_SPEC_GET(DT_ALIAS(led0), gpios);

void led_init(void)
{
    if (!gpio_is_ready_dt(&led)) {
        LOG_ERR("LED GPIO device not ready");
        return;
    }
    
    int ret = gpio_pin_configure_dt(&led, GPIO_OUTPUT);
    if (ret < 0) {
        LOG_ERR("Failed to configure LED GPIO: %d", ret);
    } else {
        gpio_pin_set_dt(&led, 0);
        LOG_INF("LED initialized successfully");
    }
}
```

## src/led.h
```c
#pragma once

#include <zephyr/drivers/gpio.h>

extern const struct gpio_dt_spec led;
void led_init(void);
```
